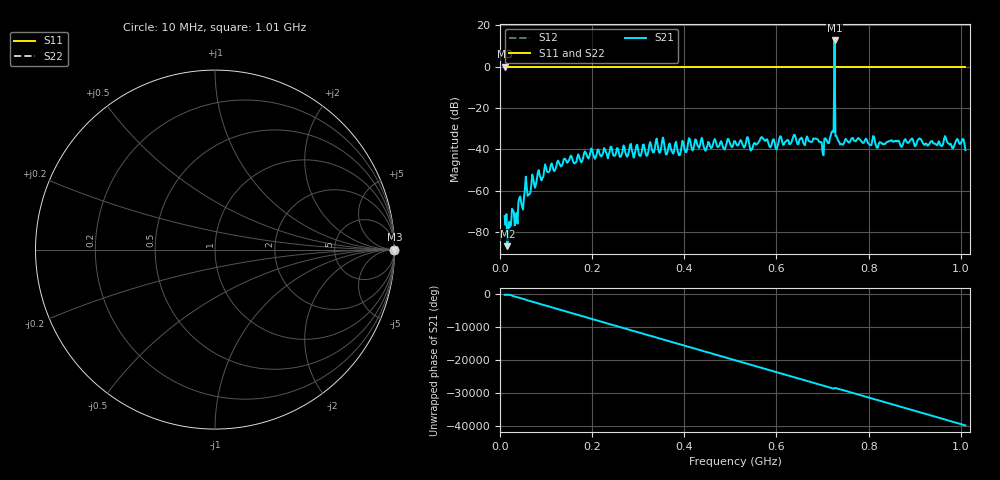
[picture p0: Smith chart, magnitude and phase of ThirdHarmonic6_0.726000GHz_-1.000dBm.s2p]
! 8/16/2025 12:17:29 AM
! C:\ANRITSUVNA\TEMP\TEMP.S2P
! CHANNEL.1
! TR.MEASUREMENT
! RAW.DATA
! RF.CORRECTION.OFF
! AVERAGING.OFF
! IF.BANDWIDTH: 5KHZ
! SWEEPTYPE:  FREQ.SWEEP(Linear)
! Reference Plane Port Info
! PORT:  PORT1  PORT2
! DISTANCE:  0  m  0  m
! TIME:  0  s  0  s
! PHASE.OFFSET:  0  deg.  0  deg.
! LOSS:  0  dB  0  dB
! REF.LOSS:  0  dB  0  dB
! REF.FREQ:  0  Hz  0  Hz
! Power Info
! POWER:  -20  dBm  -20  dBm
! EFF.POWER:  -20  dBm  -20  dBm
! SOURCE.ATTEN:  0  dB  0  dB
! TEST.ATTEN:  0  dB  0  dB
# GHZ S RI R 50.0
! FREQ.GHZ  S11RE  S11IM  S21RE  S21IM  S12RE  S12IM  S22RE  S22IM
!; PortSelection: Port_12
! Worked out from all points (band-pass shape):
!   501 points, 10 MHz to 1.01 GHz, reference 50 ohm
!   highest |S21| = 12.70 dB at 726 MHz (marker M1); lowest = -86.9 dB at 16 MHz (marker M2)
!   |S21| within 3 dB of the highest: 725.8646 MHz to 726.1296 MHz (265 kHz wide, 0.0365 % of centre)
!   lowest |S11| = 0.0 dB at 10 MHz (marker M3)
!   |S11| at or under -10 dB: nowhere
!   |S22| runs from 0.0 to 0.0 dB; largest |S21 - S12| = 4.9
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0.01  1 0  -0.00024 -1.05e-05  1 0  1 0
0.016  1 0  -2.61e-05 -3.67e-05  1 0  1 0
0.034  1 0  -6.69e-05 -0.000239  1 0  1 0
0.056  1 0  -0.000273 0.00216  1 0  1 0
0.064  1 0  -0.000654 0.000476  1 0  1 0
0.084  1 0  0.00275 0.00147  1 0  1 0
0.178  1 0  -0.00501 -0.000168  1 0  1 0
0.198  1 0  0.000816 0.0104  1 0  1 0
0.344  1 0  0.00328 -0.00862  1 0  1 0
0.388  1 0  0.00628 -0.00351  1 0  1 0
0.412  1 0  0.00224 0.0174  1 0  1 0
0.51  1 0  -0.00245 0.0156  1 0  1 0
0.678  1 0  -0.0155 0.00119  1 0  1 0
0.698  1 0  0.000729 0.015  1 0  1 0
0.72  1 0  0.0073 -0.0254  1 0  1 0
0.722  1 0  -0.0265 -0.00806  1 0  1 0
0.726  1 0  -2.168 -3.734  1 0  1 0
0.73  1 0  -0.0197 -0.00657  1 0  1 0
0.732  1 0  -0.00915 0.0158  1 0  1 0
0.844  1 0  0.0108 -0.0114  1 0  1 0
0.968  1 0  0.0168 -0.00724  1 0  1 0
1.01  1 0  0.00296 0.00904  1 0  1 0
